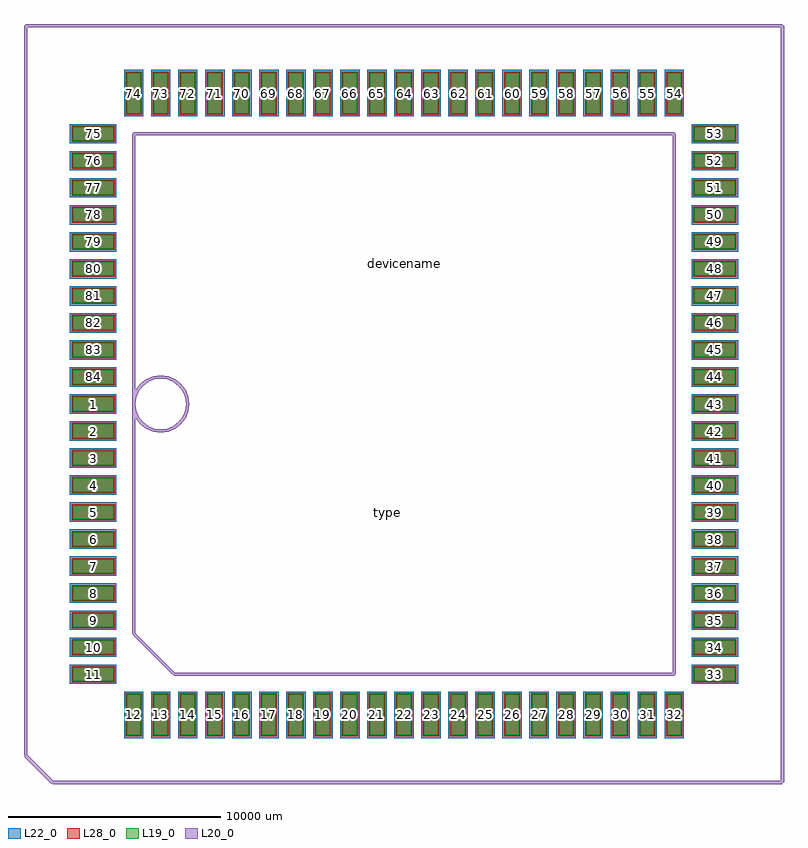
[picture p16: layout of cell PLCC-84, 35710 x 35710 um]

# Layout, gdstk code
import gdstk
lib = gdstk.Library(unit=1e-6, precision=1e-09)
def R(c, l, rs):  # rectangles x0, y0, x1, y1
    for r in rs: c.add(gdstk.rectangle(r[:2], r[2:], *l))
def A(c, l, x, y, w, h, nx, ny, dx, dy):  # array of equal rectangles
    R(c, l, [(x+i*dx, y+j*dy, x+i*dx+w, y+j*dy+h) for i in range(nx) for j in range(ny)])
L19_0 = (19, 0)
L20_0 = (20, 0)
L22_0 = (22, 0)
L28_0 = (28, 0)

plcc_84 = lib.new_cell('PLCC-84')
A(plcc_84, L19_0, -13031, -15571, 662, 1932, 21, 2, 1270, 29210)
A(plcc_84, L19_0, -15571, -13031, 1932, 662, 1, 21, 0, 1270)
A(plcc_84, L19_0, 13639, -13031, 1932, 662, 1, 21, 0, 1270)
A(plcc_84, L22_0, -13156, -15696, 912, 2182, 21, 2, 1270, 29210)
A(plcc_84, L22_0, -15696, -13156, 2182, 912, 1, 21, 0, 1270)
A(plcc_84, L22_0, 13514, -13156, 2182, 912, 1, 21, 0, 1270)
A(plcc_84, L28_0, -13081, -15621, 762, 2032, 21, 2, 1270, 29210)
A(plcc_84, L28_0, -15621, -13081, 2032, 762, 1, 21, 0, 1270)
A(plcc_84, L28_0, 13589, -13081, 2032, 762, 1, 21, 0, 1270)
plcc_84.add(gdstk.FlexPath([(-17780,17780),(-17780,-16510)], 149.998, ends="flush", simple_path=True, layer=20, datatype=0))  # L20_0
plcc_84.add(gdstk.FlexPath([(17780,17780),(-17780,17780)], 149.998, ends="flush", simple_path=True, layer=20, datatype=0))  # L20_0
plcc_84.add(gdstk.FlexPath([(17780,-17780),(17780,17780)], 149.998, ends="flush", simple_path=True, layer=20, datatype=0))  # L20_0
plcc_84.add(gdstk.FlexPath([(-16510,-17780),(17780,-17780)], 149.998, ends="flush", simple_path=True, layer=20, datatype=0))  # L20_0
plcc_84.add(gdstk.FlexPath([(-17780,-16510),(-16510,-17780)], 149.998, ends="flush", simple_path=True, layer=20, datatype=0))  # L20_0
plcc_84.add(gdstk.FlexPath([(-12700,-10795),(-12700,12700)], 149.998, ends="flush", simple_path=True, layer=20, datatype=0))  # L20_0
plcc_84.add(gdstk.FlexPath([(-10795,-12700),(-12700,-10795)], 149.998, ends="flush", simple_path=True, layer=20, datatype=0))  # L20_0
plcc_84.add(gdstk.FlexPath([(12700,-12700),(-10795,-12700)], 149.998, ends="flush", simple_path=True, layer=20, datatype=0))  # L20_0
plcc_84.add(gdstk.FlexPath([(12700,12700),(12700,-12700)], 149.998, ends="flush", simple_path=True, layer=20, datatype=0))  # L20_0
plcc_84.add(gdstk.FlexPath([(-12700,12700),(12700,12700)], 149.998, ends="flush", simple_path=True, layer=20, datatype=0))  # L20_0
plcc_84.add(gdstk.FlexPath([(-12700,0),(-12656.726,-328.7),(-12529.852,-635),(-12328.026,-898.026),(-12065,-1099.852),(-11758.7,-1226.726),(-11430,-1270),(-11101.3,-1226.726),(-10795,-1099.852),(-10531.974,-898.026),(-10330.148,-635),(-10203.274,-328.7),(-10160,0),(-10203.274,328.7),(-10330.148,635),(-10531.974,898.026),(-10795,1099.852),(-11101.3,1226.726),(-11430,1270),(-11758.7,1226.726),(-12065,1099.852),(-12328.026,898.026),(-12529.852,635),(-12656.726,328.7),(-12700,0)], 149.998, ends="flush", simple_path=True, layer=20, datatype=0))  # L20_0
plcc_84.add(gdstk.Label('84', (-14605,1270), layer=28, texttype=0))
plcc_84.add(gdstk.Label('83', (-14605,2540), layer=28, texttype=0))
plcc_84.add(gdstk.Label('82', (-14605,3810), layer=28, texttype=0))
plcc_84.add(gdstk.Label('81', (-14605,5080), layer=28, texttype=0))
plcc_84.add(gdstk.Label('80', (-14605,6350), layer=28, texttype=0))
plcc_84.add(gdstk.Label('79', (-14605,7620), layer=28, texttype=0))
plcc_84.add(gdstk.Label('78', (-14605,8890), layer=28, texttype=0))
plcc_84.add(gdstk.Label('77', (-14605,10160), layer=28, texttype=0))
plcc_84.add(gdstk.Label('76', (-14605,11430), layer=28, texttype=0))
plcc_84.add(gdstk.Label('75', (-14605,12700), layer=28, texttype=0))
plcc_84.add(gdstk.Label('74', (-12700,14605), layer=28, texttype=0))
plcc_84.add(gdstk.Label('73', (-11430,14605), layer=28, texttype=0))
plcc_84.add(gdstk.Label('72', (-10160,14605), layer=28, texttype=0))
plcc_84.add(gdstk.Label('71', (-8890,14605), layer=28, texttype=0))
plcc_84.add(gdstk.Label('70', (-7620,14605), layer=28, texttype=0))
plcc_84.add(gdstk.Label('69', (-6350,14605), layer=28, texttype=0))
plcc_84.add(gdstk.Label('68', (-5080,14605), layer=28, texttype=0))
plcc_84.add(gdstk.Label('67', (-3810,14605), layer=28, texttype=0))
plcc_84.add(gdstk.Label('66', (-2540,14605), layer=28, texttype=0))
plcc_84.add(gdstk.Label('65', (-1270,14605), layer=28, texttype=0))
plcc_84.add(gdstk.Label('64', (0,14605), layer=28, texttype=0))
plcc_84.add(gdstk.Label('63', (1270,14605), layer=28, texttype=0))
plcc_84.add(gdstk.Label('62', (2540,14605), layer=28, texttype=0))
plcc_84.add(gdstk.Label('61', (3810,14605), layer=28, texttype=0))
plcc_84.add(gdstk.Label('60', (5080,14605), layer=28, texttype=0))
plcc_84.add(gdstk.Label('59', (6350,14605), layer=28, texttype=0))
plcc_84.add(gdstk.Label('58', (7620,14605), layer=28, texttype=0))
plcc_84.add(gdstk.Label('57', (8890,14605), layer=28, texttype=0))
plcc_84.add(gdstk.Label('56', (10160,14605), layer=28, texttype=0))
plcc_84.add(gdstk.Label('55', (11430,14605), layer=28, texttype=0))
plcc_84.add(gdstk.Label('54', (12700,14605), layer=28, texttype=0))
plcc_84.add(gdstk.Label('53', (14605,12700), layer=28, texttype=0))
plcc_84.add(gdstk.Label('52', (14605,11430), layer=28, texttype=0))
plcc_84.add(gdstk.Label('51', (14605,10160), layer=28, texttype=0))
plcc_84.add(gdstk.Label('50', (14605,8890), layer=28, texttype=0))
plcc_84.add(gdstk.Label('49', (14605,7620), layer=28, texttype=0))
plcc_84.add(gdstk.Label('48', (14605,6350), layer=28, texttype=0))
plcc_84.add(gdstk.Label('47', (14605,5080), layer=28, texttype=0))
plcc_84.add(gdstk.Label('46', (14605,3810), layer=28, texttype=0))
plcc_84.add(gdstk.Label('45', (14605,2540), layer=28, texttype=0))
plcc_84.add(gdstk.Label('44', (14605,1270), layer=28, texttype=0))
plcc_84.add(gdstk.Label('43', (14605,0), layer=28, texttype=0))
plcc_84.add(gdstk.Label('42', (14605,-1270), layer=28, texttype=0))
plcc_84.add(gdstk.Label('41', (14605,-2540), layer=28, texttype=0))
plcc_84.add(gdstk.Label('40', (14605,-3810), layer=28, texttype=0))
plcc_84.add(gdstk.Label('39', (14605,-5080), layer=28, texttype=0))
plcc_84.add(gdstk.Label('38', (14605,-6350), layer=28, texttype=0))
plcc_84.add(gdstk.Label('37', (14605,-7620), layer=28, texttype=0))
plcc_84.add(gdstk.Label('36', (14605,-8890), layer=28, texttype=0))
plcc_84.add(gdstk.Label('35', (14605,-10160), layer=28, texttype=0))
plcc_84.add(gdstk.Label('34', (14605,-11430), layer=28, texttype=0))
plcc_84.add(gdstk.Label('33', (14605,-12700), layer=28, texttype=0))
plcc_84.add(gdstk.Label('32', (12700,-14605), layer=28, texttype=0))
plcc_84.add(gdstk.Label('31', (11430,-14605), layer=28, texttype=0))
plcc_84.add(gdstk.Label('30', (10160,-14605), layer=28, texttype=0))
plcc_84.add(gdstk.Label('29', (8890,-14605), layer=28, texttype=0))
plcc_84.add(gdstk.Label('28', (7620,-14605), layer=28, texttype=0))
plcc_84.add(gdstk.Label('27', (6350,-14605), layer=28, texttype=0))
plcc_84.add(gdstk.Label('26', (5080,-14605), layer=28, texttype=0))
plcc_84.add(gdstk.Label('25', (3810,-14605), layer=28, texttype=0))
plcc_84.add(gdstk.Label('24', (2540,-14605), layer=28, texttype=0))
plcc_84.add(gdstk.Label('23', (1270,-14605), layer=28, texttype=0))
plcc_84.add(gdstk.Label('22', (0,-14605), layer=28, texttype=0))
plcc_84.add(gdstk.Label('21', (-1270,-14605), layer=28, texttype=0))
plcc_84.add(gdstk.Label('20', (-2540,-14605), layer=28, texttype=0))
plcc_84.add(gdstk.Label('19', (-3810,-14605), layer=28, texttype=0))
plcc_84.add(gdstk.Label('18', (-5080,-14605), layer=28, texttype=0))
plcc_84.add(gdstk.Label('17', (-6350,-14605), layer=28, texttype=0))
plcc_84.add(gdstk.Label('16', (-7620,-14605), layer=28, texttype=0))
plcc_84.add(gdstk.Label('15', (-8890,-14605), layer=28, texttype=0))
plcc_84.add(gdstk.Label('14', (-10160,-14605), layer=28, texttype=0))
plcc_84.add(gdstk.Label('13', (-11430,-14605), layer=28, texttype=0))
plcc_84.add(gdstk.Label('12', (-12700,-14605), layer=28, texttype=0))
plcc_84.add(gdstk.Label('11', (-14605,-12700), layer=28, texttype=0))
plcc_84.add(gdstk.Label('10', (-14605,-11430), layer=28, texttype=0))
plcc_84.add(gdstk.Label('9', (-14605,-10160), layer=28, texttype=0))
plcc_84.add(gdstk.Label('8', (-14605,-8890), layer=28, texttype=0))
plcc_84.add(gdstk.Label('7', (-14605,-7620), layer=28, texttype=0))
plcc_84.add(gdstk.Label('6', (-14605,-6350), layer=28, texttype=0))
plcc_84.add(gdstk.Label('5', (-14605,-5080), layer=28, texttype=0))
plcc_84.add(gdstk.Label('4', (-14605,-3810), layer=28, texttype=0))
plcc_84.add(gdstk.Label('3', (-14605,-2540), layer=28, texttype=0))
plcc_84.add(gdstk.Label('2', (-14605,-1270), layer=28, texttype=0))
plcc_84.add(gdstk.Label('1', (-14605,0), layer=28, texttype=0))
plcc_84.add(gdstk.Label('type', (-762,-5080), layer=9, texttype=0))
plcc_84.add(gdstk.Label('devicename', (0,6604), layer=9, texttype=0))

lib.write_gds('PLCC-84.gds')
